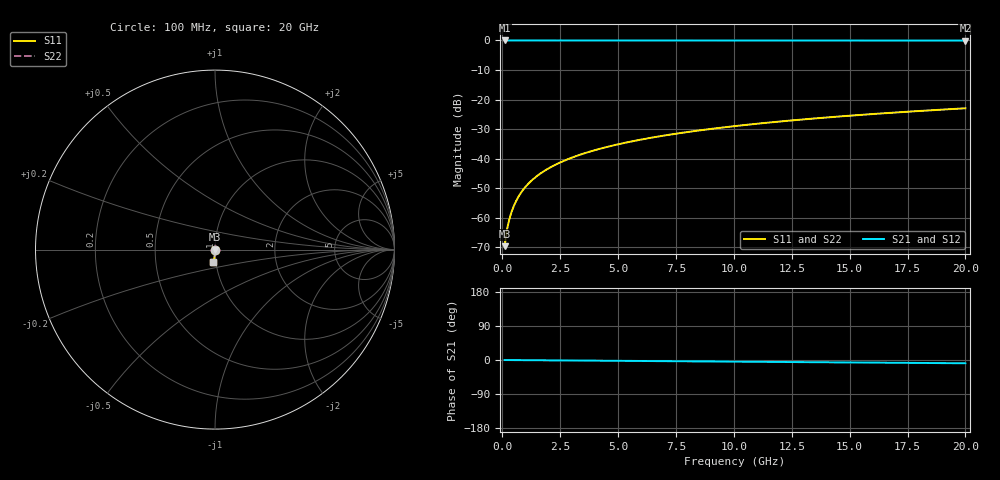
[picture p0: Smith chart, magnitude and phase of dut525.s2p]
! Touchstone file exported from HFSS 2026.1.0
!  File:  C:/ffzhzh/LocalFiles/Ansys_Project_Files/temp_train_TSV_525_1783023578_51716.aedt
!  Generated:  04:21:18 AM Jul  3, 2026
!  Design:  TSV
!  Project:  temp_train_TSV_525_1783023578_51716
! Variables:
!  h_bsmrdl = 2um
!  h_ox = 20um
!  h_rdl = 5um
!  h_sub = 81.62um
!  h_tmrdl = 5um
!  h_tsv = 81.62um
!  h_via = 3um
!  l_bsmrdl = 300um
!  l_sub = 420.18um
!  l_tmrdl = 200um
!  m_sub = 200um
!  pitch = 27.06um
!  r_tsv = 10.09um
!  s_tmrdl = 10um
!  w_bsmrdl = 18um
!  w_sub = 500um
!  w_tmrdl = 12um
!  x_tsv_center1 = 206um
!  x_tsv_center2 = 524um
!  x_tsv_center3 = 736um
!  x_tsv_center4 = 1054um
!  x_tsv_center5 = 1266um
!  x_tsv_center6 = 1584um
# GHz S MA R 50.000000
! Terminal data exported
! Port[1] = TSV1_1_T1
! Port[2] = TSV1_1_T2
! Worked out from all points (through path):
!   200 points, 100 MHz to 20 GHz, reference 50 ohm
!   highest |S21| = 0.00 dB at 100 MHz (marker M1); lowest = 0.0 dB at 20 GHz (marker M2)
!   group delay of S21, straight-line fit = 1.19 ps
!   lowest |S11| = -69.6 dB at 100 MHz (marker M3), VSWR 1.00, Z = 50 - j0.0299 ohm
!   |S11| at or under -10 dB: start of sweep to end of sweep
!   |S22| runs from -69.6 to -23.0 dB; largest |S21 - S12| = 2.3e-15
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0.1  0.0003306 -64.6  0.9999 -0.0  0.9999 -0.0  0.0003306 -64.6
! Gamma 0 0 0 0
! Port Impedance 50 0 50 0
0.2  0.0006237 -75.1  0.9998 -0.1  0.9998 -0.1  0.0006237 -75.1
0.3  0.0009347 -78.4  0.9998 -0.1  0.9998 -0.1  0.0009347 -78.4
0.4  0.001258 -80.0  0.9998 -0.2  0.9998 -0.2  0.001258 -80.0
0.5  0.00159 -81.0  0.9997 -0.2  0.9997 -0.2  0.00159 -81.0
0.7  0.002275 -82.4  0.9997 -0.3  0.9997 -0.3  0.002275 -82.4
0.8  0.002623 -82.9  0.9997 -0.4  0.9997 -0.4  0.002623 -82.9
1  0.003326 -83.8  0.9996 -0.4  0.9996 -0.4  0.003326 -83.8
1.2  0.004031 -84.6  0.9996 -0.5  0.9996 -0.5  0.004031 -84.6
1.4  0.004737 -85.2  0.9995 -0.6  0.9995 -0.6  0.004737 -85.2
1.7  0.005796 -86.0  0.9995 -0.8  0.9995 -0.8  0.005796 -86.0
2  0.006855 -86.6  0.9995 -0.9  0.9995 -0.9  0.006855 -86.6
2.7  0.009326 -87.6  0.9994 -1.2  0.9994 -1.2  0.009326 -87.6
3.5  0.01216 -88.5  0.9993 -1.5  0.9993 -1.5  0.01216 -88.5
4.2  0.01464 -89.0  0.9992 -1.8  0.9992 -1.8  0.01464 -89.0
5  0.01749 -89.6  0.9991 -2.2  0.9991 -2.2  0.01749 -89.6
6.8  0.02393 -90.7  0.9988 -3.0  0.9988 -3.0  0.02393 -90.7
8.3  0.02931 -91.6  0.9985 -3.6  0.9985 -3.6  0.02931 -91.6
10.1  0.03576 -92.6  0.9982 -4.4  0.9982 -4.4  0.03576 -92.6
13.4  0.04759 -94.2  0.9976 -5.8  0.9976 -5.8  0.04759 -94.2
16.7  0.0594 -95.8  0.9968 -7.2  0.9968 -7.2  0.0594 -95.8
20  0.07118 -97.3  0.9958 -8.6  0.9958 -8.6  0.07118 -97.3
